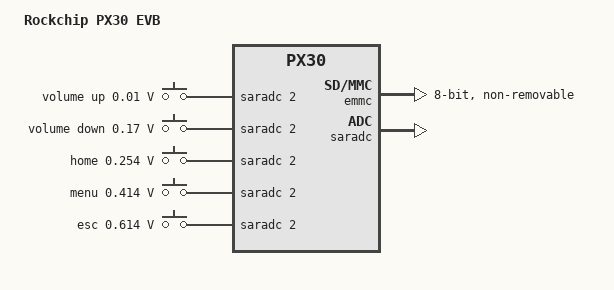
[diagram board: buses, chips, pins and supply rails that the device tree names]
/*
 * (C) Copyright 2017 Rockchip Electronics Co., Ltd
 *
 * SPDX-License-Identifier:     GPL-2.0+
 */

/dts-v1/;
#include "px30.dtsi"
#include "px30-u-boot.dtsi"
#include <dt-bindings/input/input.h>

/ {
	model = "Rockchip PX30 EVB";
	compatible = "rockchip,px30-evb", "rockchip,px30";

	chosen {
		stdout-path = &uart2;
	};

	dmc: dmc@20004000 {
		u-boot,dm-pre-reloc;
		compatible = "rockchip,px30-dmc", "syscon";
		reg = <0x0 0xff2a0000 0x0 0x1000>;
	};

	adc-keys {
		compatible = "adc-keys";
		io-channels = <&saradc 2>;
		io-channel-names = "buttons";
		keyup-threshold-microvolt = <1800000>;

		vol-up-key {
			linux,code = <KEY_VOLUMEUP>;
			label = "volume up";
			press-threshold-microvolt = <10000>;
		};

		vol-down-key {
			linux,code = <KEY_VOLUMEDOWN>;
			label = "volume down";
			press-threshold-microvolt = <170000>;
		};

		home-key {
			linux,code = <KEY_HOME>;
			label = "home";
			press-threshold-microvolt = <254000>;
		};

		menu-key {
			linux,code = <KEY_MENU>;
			label = "menu";
			press-threshold-microvolt = <414000>;
		};

		esc-key {
			linux,code = <KEY_ESC>;
			label = "esc";
			press-threshold-microvolt = <614000>;
		};
	};
};


&emmc {
	u-boot,dm-pre-reloc;
	fifo-mode;
	bus-width = <8>;
	cap-mmc-highspeed;
	supports-emmc;
	disable-wp;
	non-removable;
	num-slots = <1>;
	pinctrl-names = "default";
	pinctrl-0 = <&emmc_clk &emmc_cmd &emmc_bus8>;
	status = "okay";
};

&saradc {
	status = "okay";
};
